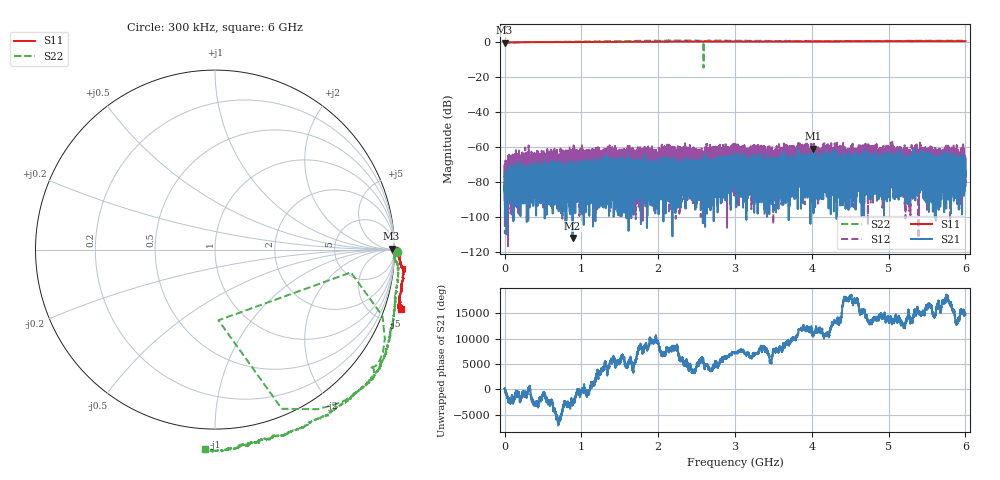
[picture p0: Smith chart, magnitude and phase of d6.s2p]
!Agilent Technologies,N5230C,SG49000117,A.08.50.07
!Agilent N5230C: A.08.50.07
!Date: Thursday, May 16, 2024 19:28:45
!Correction: S11(Full 2 Port(1,2))
!S21(Full 2 Port(1,2))
!S12(Full 2 Port(1,2))
!S22(Full 2 Port(1,2))
!S2P File: Measurements: S11, S21, S12, S22:
# Hz S  MA  R 50
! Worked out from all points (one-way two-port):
!   20001 points, 300 kHz to 6 GHz, reference 50 ohm
!   highest |S21| = -60.74 dB at 4.021 GHz (marker M1); lowest = -111.9 dB at 885 MHz (marker M2)
!   lowest |S11| = -0.1 dB at 600 kHz (marker M3), VSWR 123.06, Z = 5.69e+03 + j1.62e+03 ohm
!   |S11| at or under -10 dB: nowhere
!   |S22| runs from -14.5 to 1.1 dB; largest |S21 - S12| = 0.0018
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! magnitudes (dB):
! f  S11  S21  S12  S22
! 300 kHz  0.1  -73.8  -70.3  0.1
! 600 kHz  -0.1  -81.6  -74.6  -0.3
! 30.6 MHz  0.0  -80.4  -78.8  0.0
! 206.4 MHz  0.1  -81.7  -69.0  0.1
! 885 MHz  0.2  -111.9  -72.9  0.4
! 1 GHz  0.3  -71.5  -77.3  0.5
! 2 GHz  0.5  -82.8  -74.6  1.0
! 2.691 GHz  0.5  -78.7  -70.4  1.0
! 3 GHz  0.5  -72.3  -74.3  1.0
! 3.501 GHz  0.5  -78.0  -91.7  0.8
! 3.839 GHz  0.5  -66.7  -66.5  0.8
! 4 GHz  0.5  -75.7  -68.2  0.8
! 4.021 GHz  0.5  -60.7  -69.0  0.9
! 4.093 GHz  0.6  -77.2  -62.0  0.8
! 4.226 GHz  0.6  -71.2  -64.3  0.8
! 4.455 GHz  0.7  -78.5  -73.2  0.7
! 5 GHz  0.7  -74.8  -69.1  0.9
! 5.282 GHz  0.7  -67.2  -80.1  0.9
! 5.34 GHz  0.7  -70.1  -81.3  0.9
! 5.769 GHz  0.7  -72.9  -65.1  1.0
! 5.944 GHz  0.7  -81.6  -84.4  0.9
! 6 GHz  0.7  -73.6  -65.4  0.9
